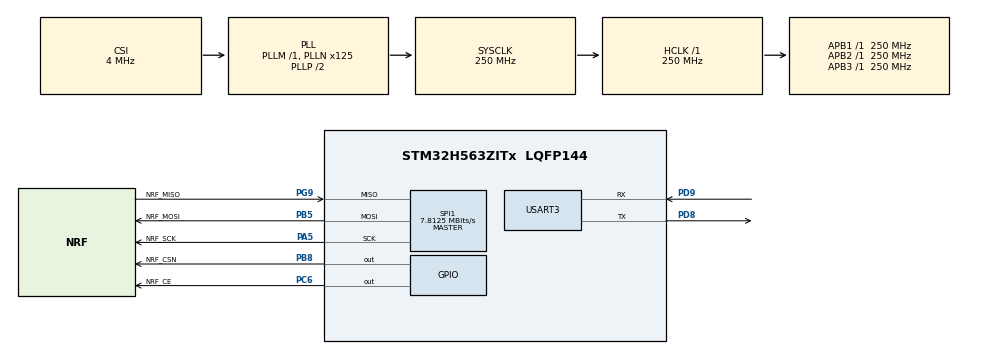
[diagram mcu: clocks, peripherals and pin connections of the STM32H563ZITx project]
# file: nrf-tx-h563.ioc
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CORTEX_M33_NS.userName=CORTEX_M33
Mcu.Family=STM32H5
Mcu.Name=STM32H563ZITx
Mcu.Package=LQFP144
NVIC.PriorityGroup=NVIC_PRIORITYGROUP_4
PA5.GPIO_Label=NRF_SCK
PA5.Mode=Full_Duplex_Master
PA5.Signal=SPI1_SCK
PB5.GPIO_Label=NRF_MOSI
PB5.Mode=Full_Duplex_Master
PB5.Signal=SPI1_MOSI
PB8.GPIO_Label=NRF_CSN
PB8.Signal=GPIO_Output
PC6.GPIO_Label=NRF_CE
PC6.Signal=GPIO_Output
PD8.Mode=Asynchronous
PD8.Signal=USART3_TX
PD9.Mode=Asynchronous
PD9.Signal=USART3_RX
PG9.GPIO_Label=NRF_MISO
PG9.Mode=Full_Duplex_Master
PG9.Signal=SPI1_MISO
ProjectManager.HeapSize=0x200
ProjectManager.StackSize=0x400
ProjectManager.TargetToolchain=STM32CubeIDE
RCC.ADCFreq_Value=250000000
RCC.AHBFreq_Value=250000000
RCC.APB1Freq_Value=250000000
RCC.APB1TimFreq_Value=250000000
RCC.APB2Freq_Value=250000000
RCC.APB2TimFreq_Value=250000000
RCC.APB3Freq_Value=250000000
RCC.CSI_VALUE=4000000
RCC.CortexFreq_Value=250000000
RCC.EPOD_VALUE=4000000
RCC.HCLKFreq_Value=250000000
RCC.HSE_VALUE=25000000
RCC.HSI48_VALUE=48000000
RCC.HSI_VALUE=64000000
RCC.LSE_VALUE=32768
RCC.LSIRC_VALUE=32000
RCC.PLL2FRACN=0
RCC.PLL3FRACN=0
RCC.PLLFRACN=0
RCC.PLLN=125
RCC.SYSCLKFreq_VALUE=250000000
RCC.SYSCLKSource=RCC_SYSCLKSOURCE_PLLCLK
RCC.USBFreq_Value=48000000
RCC.VCOOutputFreq_Value=500000000
SPI1.BaudRatePrescaler=SPI_BAUDRATEPRESCALER_32
SPI1.CalculateBaudRate=7.8125 MBits/s
SPI1.DataSize=SPI_DATASIZE_8BIT
SPI1.Direction=SPI_DIRECTION_2LINES
SPI1.Mode=SPI_MODE_MASTER
SPI1.VirtualType=VM_MASTER
USART3.VirtualMode=VM_ASYNC
VP_BOOTPATH_VS_BOOTPATH.Mode=BP_Activate
VP_MEMORYMAP_VS_MEMORYMAP.Mode=CurAppReg
VP_PWR_VS_DBSignals.Mode=DisableDeadBatterySignals
VP_PWR_VS_LPOM.Mode=PowerOptimisation
VP_PWR_VS_SECSignals.Mode=Security/Privilege
board=custom

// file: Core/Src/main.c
/* USER CODE BEGIN Header */
/**
  ******************************************************************************
  * @file           : main.c
  * @brief          : Main program body
  ******************************************************************************
  * @attention
  *
  * Copyright (c) 2023 STMicroelectronics.
  * All rights reserved.
  *
  * This software is licensed under terms that can be found in the LICENSE file
  * in the root directory of this software component.
  * If no LICENSE file comes with this software, it is provided AS-IS.
  *
  ******************************************************************************
  */
/* USER CODE END Header */
#include "main.h"

/* USER CODE BEGIN Includes */
#include <stdio.h>
#include "nrf24l01.h"
/* USER CODE END Includes */

SPI_HandleTypeDef hspi1;

UART_HandleTypeDef huart3;

void SystemClock_Config(void);
static void MX_GPIO_Init(void);
static void MX_MEMORYMAP_Init(void);
static void MX_USART3_UART_Init(void);
static void MX_SPI1_Init(void);

/* USER CODE BEGIN 0 */
#ifdef __GNUC__
#define PUTCHAR_PROTOTYPE int __io_putchar(int ch)
#else
#define PUTCHAR_PROTOTYPE int fputc(int ch, FILE *f)
#endif

PUTCHAR_PROTOTYPE
{
  HAL_UART_Transmit(&huart3, (uint8_t *)&ch, 1, HAL_MAX_DELAY);
  return ch;
}
/* USER CODE END 0 */

int main(void)
{

  /* MCU Configuration--------------------------------------------------------*/

  /* Reset of all peripherals, Initializes the Flash interface and the Systick. */
  HAL_Init();

  /* Configure the system clock */
  SystemClock_Config();

  /* Initialize all configured peripherals */
  MX_GPIO_Init();
  MX_MEMORYMAP_Init();
  MX_USART3_UART_Init();
  MX_SPI1_Init();
  /* USER CODE BEGIN 2 */
  NRF_Init(&hspi1, NRF_CSN_GPIO_Port, NRF_CSN_Pin, NRF_CE_GPIO_Port, NRF_CE_Pin);

  // Verify connection through SPI
  if(NRF_VerifySPI() != HAL_OK) {
    printf("Couldn't connect to nRF24L01+...\r\n");
    Error_Handler();
  }

  NRF_WriteBitReg(NRF_REG_STATUS, 4);

  // Set an adress (should be needed?)
  uint8_t txAddr[5] = {1,2,3,4,5};
  NRF_WriteRegister(NRF_REG_TX_ADDR, txAddr, 5);

  // Reset state
  NRF_SendCommand(NRF_CMD_FLUSH_TX);

  printf("Initalised...\r\n");
  NRF_PrintStatus();
  NRF_PrintFIFOStatus();

  // Write payload
  uint8_t msg[10] = "HelloWorld";
  NRF_WritePayload(msg, 10);

  printf("Sending payload.\r\n");
  NRF_CE_set();
  HAL_Delay(1);
  NRF_CE_reset();
  /* USER CODE END 2 */

  /* Infinite loop */
  while (1)
  {

  }
}

void SystemClock_Config(void)
{
  RCC_OscInitTypeDef RCC_OscInitStruct = {0};
  RCC_ClkInitTypeDef RCC_ClkInitStruct = {0};

  /** Configure the main internal regulator output voltage
  */
  __HAL_PWR_VOLTAGESCALING_CONFIG(PWR_REGULATOR_VOLTAGE_SCALE0);

  while(!__HAL_PWR_GET_FLAG(PWR_FLAG_VOSRDY)) {}

  /** Initializes the RCC Oscillators according to the specified parameters
  * in the RCC_OscInitTypeDef structure.
  */
  RCC_OscInitStruct.OscillatorType = RCC_OSCILLATORTYPE_CSI;
  RCC_OscInitStruct.CSIState = RCC_CSI_ON;
  RCC_OscInitStruct.CSICalibrationValue = RCC_CSICALIBRATION_DEFAULT;
  RCC_OscInitStruct.PLL.PLLState = RCC_PLL_ON;
  RCC_OscInitStruct.PLL.PLLSource = RCC_PLL1_SOURCE_CSI;
  RCC_OscInitStruct.PLL.PLLM = 1;
  RCC_OscInitStruct.PLL.PLLN = 125;
  RCC_OscInitStruct.PLL.PLLP = 2;
  RCC_OscInitStruct.PLL.PLLQ = 2;
  RCC_OscInitStruct.PLL.PLLR = 2;
  RCC_OscInitStruct.PLL.PLLRGE = RCC_PLL1_VCIRANGE_2;
  RCC_OscInitStruct.PLL.PLLVCOSEL = RCC_PLL1_VCORANGE_WIDE;
  RCC_OscInitStruct.PLL.PLLFRACN = 0;
  if (HAL_RCC_OscConfig(&RCC_OscInitStruct) != HAL_OK)
  {
    Error_Handler();
  }

  /** Initializes the CPU, AHB and APB buses clocks
  */
  RCC_ClkInitStruct.ClockType = RCC_CLOCKTYPE_HCLK|RCC_CLOCKTYPE_SYSCLK
                              |RCC_CLOCKTYPE_PCLK1|RCC_CLOCKTYPE_PCLK2
                              |RCC_CLOCKTYPE_PCLK3;
  RCC_ClkInitStruct.SYSCLKSource = RCC_SYSCLKSOURCE_PLLCLK;
  RCC_ClkInitStruct.AHBCLKDivider = RCC_SYSCLK_DIV1;
  RCC_ClkInitStruct.APB1CLKDivider = RCC_HCLK_DIV1;
  RCC_ClkInitStruct.APB2CLKDivider = RCC_HCLK_DIV1;
  RCC_ClkInitStruct.APB3CLKDivider = RCC_HCLK_DIV1;

  if (HAL_RCC_ClockConfig(&RCC_ClkInitStruct, FLASH_LATENCY_5) != HAL_OK)
  {
    Error_Handler();
  }
}

static void MX_MEMORYMAP_Init(void)
{

}

static void MX_SPI1_Init(void)
{

  /* SPI1 parameter configuration*/
  hspi1.Instance = SPI1;
  hspi1.Init.Mode = SPI_MODE_MASTER;
  hspi1.Init.Direction = SPI_DIRECTION_2LINES;
  hspi1.Init.DataSize = SPI_DATASIZE_8BIT;
  hspi1.Init.CLKPolarity = SPI_POLARITY_LOW;
  hspi1.Init.CLKPhase = SPI_PHASE_1EDGE;
  hspi1.Init.NSS = SPI_NSS_SOFT;
  hspi1.Init.BaudRatePrescaler = SPI_BAUDRATEPRESCALER_32;
  hspi1.Init.FirstBit = SPI_FIRSTBIT_MSB;
  hspi1.Init.TIMode = SPI_TIMODE_DISABLE;
  hspi1.Init.CRCCalculation = SPI_CRCCALCULATION_DISABLE;
  hspi1.Init.CRCPolynomial = 0x7;
  hspi1.Init.NSSPMode = SPI_NSS_PULSE_ENABLE;
  hspi1.Init.NSSPolarity = SPI_NSS_POLARITY_LOW;
  hspi1.Init.FifoThreshold = SPI_FIFO_THRESHOLD_01DATA;
  hspi1.Init.MasterSSIdleness = SPI_MASTER_SS_IDLENESS_00CYCLE;
  hspi1.Init.MasterInterDataIdleness = SPI_MASTER_INTERDATA_IDLENESS_00CYCLE;
  hspi1.Init.MasterReceiverAutoSusp = SPI_MASTER_RX_AUTOSUSP_DISABLE;
  hspi1.Init.MasterKeepIOState = SPI_MASTER_KEEP_IO_STATE_DISABLE;
  hspi1.Init.IOSwap = SPI_IO_SWAP_DISABLE;
  hspi1.Init.ReadyMasterManagement = SPI_RDY_MASTER_MANAGEMENT_INTERNALLY;
  hspi1.Init.ReadyPolarity = SPI_RDY_POLARITY_HIGH;
  if (HAL_SPI_Init(&hspi1) != HAL_OK)
  {
    Error_Handler();
  }

}

static void MX_USART3_UART_Init(void)
{

  huart3.Instance = USART3;
  huart3.Init.BaudRate = 115200;
  huart3.Init.WordLength = UART_WORDLENGTH_8B;
  huart3.Init.StopBits = UART_STOPBITS_1;
  huart3.Init.Parity = UART_PARITY_NONE;
  huart3.Init.Mode = UART_MODE_TX_RX;
  huart3.Init.HwFlowCtl = UART_HWCONTROL_NONE;
  huart3.Init.OverSampling = UART_OVERSAMPLING_16;
  huart3.Init.OneBitSampling = UART_ONE_BIT_SAMPLE_DISABLE;
  huart3.Init.ClockPrescaler = UART_PRESCALER_DIV1;
  huart3.AdvancedInit.AdvFeatureInit = UART_ADVFEATURE_NO_INIT;
  if (HAL_UART_Init(&huart3) != HAL_OK)
  {
    Error_Handler();
  }
  if (HAL_UARTEx_SetTxFifoThreshold(&huart3, UART_TXFIFO_THRESHOLD_1_8) != HAL_OK)
  {
    Error_Handler();
  }
  if (HAL_UARTEx_SetRxFifoThreshold(&huart3, UART_RXFIFO_THRESHOLD_1_8) != HAL_OK)
  {
    Error_Handler();
  }
  if (HAL_UARTEx_DisableFifoMode(&huart3) != HAL_OK)
  {
    Error_Handler();
  }

}

static void MX_GPIO_Init(void)
{
  GPIO_InitTypeDef GPIO_InitStruct = {0};

  /* GPIO Ports Clock Enable */
  __HAL_RCC_GPIOA_CLK_ENABLE();
  __HAL_RCC_GPIOD_CLK_ENABLE();
  __HAL_RCC_GPIOC_CLK_ENABLE();
  __HAL_RCC_GPIOG_CLK_ENABLE();
  __HAL_RCC_GPIOB_CLK_ENABLE();

  /*Configure GPIO pin Output Level */
  HAL_GPIO_WritePin(NRF_CE_GPIO_Port, NRF_CE_Pin, GPIO_PIN_RESET);

  /*Configure GPIO pin Output Level */
  HAL_GPIO_WritePin(NRF_CSN_GPIO_Port, NRF_CSN_Pin, GPIO_PIN_RESET);

  /*Configure GPIO pin : NRF_CE_Pin */
  GPIO_InitStruct.Pin = NRF_CE_Pin;
  GPIO_InitStruct.Mode = GPIO_MODE_OUTPUT_PP;
  GPIO_InitStruct.Pull = GPIO_NOPULL;
  GPIO_InitStruct.Speed = GPIO_SPEED_FREQ_LOW;
  HAL_GPIO_Init(NRF_CE_GPIO_Port, &GPIO_InitStruct);

  /*Configure GPIO pin : NRF_CSN_Pin */
  GPIO_InitStruct.Pin = NRF_CSN_Pin;
  GPIO_InitStruct.Mode = GPIO_MODE_OUTPUT_PP;
  GPIO_InitStruct.Pull = GPIO_NOPULL;
  GPIO_InitStruct.Speed = GPIO_SPEED_FREQ_LOW;
  HAL_GPIO_Init(NRF_CSN_GPIO_Port, &GPIO_InitStruct);

}

void Error_Handler(void)
{
  __disable_irq();
  while (1)
  {
  }
}
